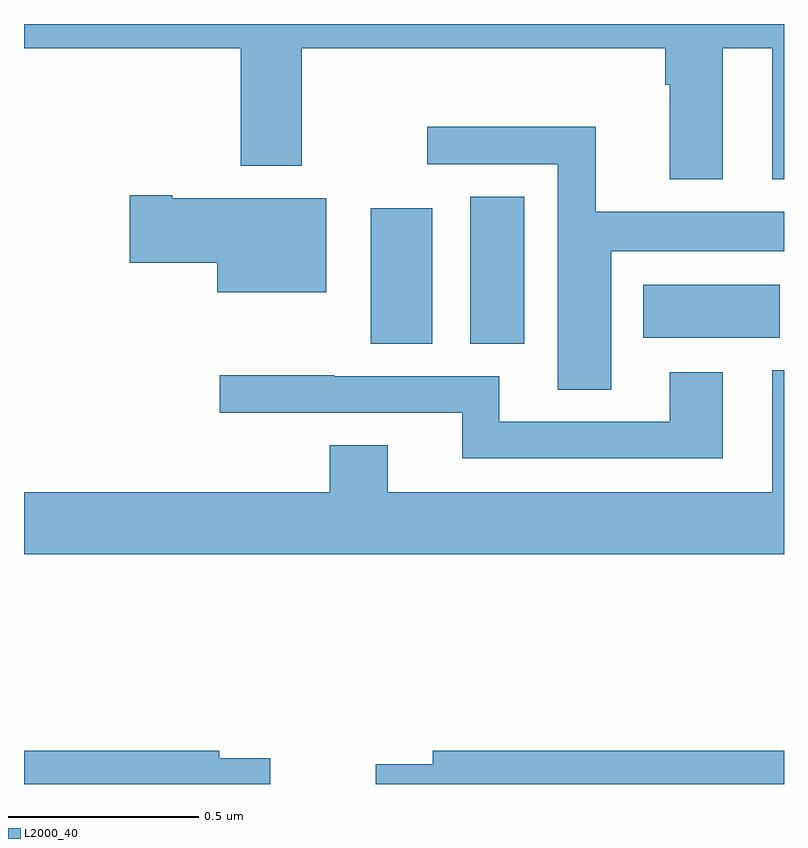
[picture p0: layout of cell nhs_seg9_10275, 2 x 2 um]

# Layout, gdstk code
import gdstk
lib = gdstk.Library(unit=1e-6, precision=1e-09)
def R(c, l, rs):  # rectangles x0, y0, x1, y1
    for r in rs: c.add(gdstk.rectangle(r[:2], r[2:], *l))
def P(c, l, *ps):  # polygons
    for p in ps: c.add(gdstk.Polygon(p, *l))
L2000_40 = (2000, 40)

nhs_seg9_10275 = lib.new_cell('nhs_seg9_10275')
R(nhs_seg9_10275, L2000_40, [(241.913,1179.658,242.074,1180.015), (242.174,1179.658,242.317,1180.046), (242.63,1179.674,242.989,1179.814)])
P(nhs_seg9_10275, L2000_40, [(242.839,1180.436),(242.969,1180.436),(242.969,1180.091),(243,1180.091),(243,1180.5),(241,1180.5),(241,1180.436),(241.571,1180.436),(241.571,1180.127),(241.731,1180.127),(241.731,1180.436),(242.687,1180.436),(242.687,1180.34),(242.699,1180.34),(242.699,1180.091),(242.839,1180.091)],
  [(242.545,1179.902),(243,1179.902),(243,1180.006),(242.504,1180.006),(242.504,1180.229),(242.061,1180.229),(242.061,1180.131),(242.405,1180.131),(242.405,1179.538),(242.545,1179.538)],
  [(241.795,1180.042),(241.39,1180.042),(241.39,1180.05),(241.278,1180.05),(241.278,1179.872),(241.508,1179.872),(241.508,1179.794),(241.795,1179.794)],
  [(243,1179.589),(242.969,1179.589),(242.969,1179.268),(241.957,1179.268),(241.957,1179.392),(241.805,1179.392),(241.805,1179.268),(241,1179.268),(241,1179.104),(243,1179.104)],
  [(242.839,1179.583),(242.699,1179.583),(242.699,1179.453),(242.251,1179.453),(242.251,1179.573),(241.817,1179.573),(241.817,1179.576),(241.515,1179.576),(241.515,1179.477),(242.153,1179.477),(242.153,1179.357),(242.839,1179.357)],
  [(241.648,1178.568),(241.514,1178.568),(241.514,1178.588),(241,1178.588),(241,1178.5),(241.648,1178.5)],
  [(243,1178.588),(242.075,1178.588),(242.075,1178.552),(241.926,1178.552),(241.926,1178.5),(243,1178.5)])

lib.write_gds('nhs_seg9_10275.gds')
